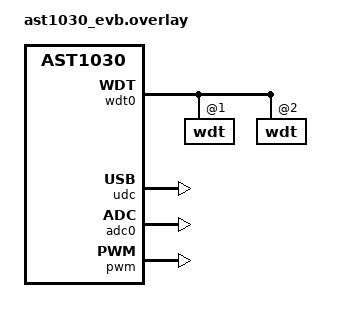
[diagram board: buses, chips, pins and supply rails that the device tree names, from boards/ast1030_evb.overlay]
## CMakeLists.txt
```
# Copyright 2025 Google LLC
#
# Licensed under the Apache License, Version 2.0 (the "License");
# you may not use this file except in compliance with the License.
# You may obtain a copy of the License at
#
#     http://www.apache.org/licenses/LICENSE-2.0
#
# Unless required by applicable law or agreed to in writing, software
# distributed under the License is distributed on an "AS IS" BASIS,
# WITHOUT WARRANTIES OR CONDITIONS OF ANY KIND, either express or implied.
# See the License for the specific language governing permissions and
# limitations under the License.

cmake_minimum_required(VERSION 3.20.0)

set_property(GLOBAL PROPERTY CSTD gnu11)

find_package(Zephyr HINTS $ENV{ZEPHYR_BASE})
project(smc-helloworld)

target_compile_options(app PRIVATE -Werror)

target_include_directories(app PRIVATE
    src/
)

file(GLOB SRCS
    src/*.c
)

target_sources(app PRIVATE ${SRCS})
```

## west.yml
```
# Copyright 2025 Google LLC
#
# Licensed under the Apache License, Version 2.0 (the "License");
# you may not use this file except in compliance with the License.
# You may obtain a copy of the License at
#
#     http://www.apache.org/licenses/LICENSE-2.0
#
# Unless required by applicable law or agreed to in writing, software
# distributed under the License is distributed on an "AS IS" BASIS,
# WITHOUT WARRANTIES OR CONDITIONS OF ANY KIND, either express or implied.
# See the License for the specific language governing permissions and
# limitations under the License.

manifest:
  self:
    path: smc-hello-world

  remotes:
    - name: google
      url-base: https://github.com/google
    - name: zephyr-aspeed
      url-base: https://github.com/AspeedTech-BMC
    - name: zephyr-upstream
      url-base: https://github.com/zephyrproject-rtos
    - name: openbmc
      url-base: https://github.com/openbmc

  projects:
    # This will be patched with smc-common/thirdparty/libmctp
    - name: libmctp
      remote: openbmc
      repo-path: libmctp
      revision: f2988977efb4ad8da523b6563b3f4cdbcd2469ed
    # This will be patched with smc-common/thirdparty/libpldm
    - name: libpldm
      remote: openbmc
      repo-path: libpldm
      revision: 0585de95306d3e4c04f89dbed2bc413a9dee8cd6
    # This will be patched with smc-common/thirdparty/libbej
    - name: libbej
      remote: openbmc
      repo-path: libbej
      revision: c14fab6eebc3455bc4111bba2ebcd41f7c52be97
    - name: smc-common
      remote: google
      repo-path: smc-common
      revision: main
    - name: zephyr
      remote: zephyr-aspeed
      repo-path: zephyr
      revision: aspeed-main-v2.6.0
      west-commands: scripts/west-commands.yml
    - name: cmsis
      remote: zephyr-upstream
      repo-path: cmsis
      revision: c3bd2094f92d574377f7af2aec147ae181aa5f8e
      path: modules/hal/cmsis
```

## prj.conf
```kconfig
CONFIG_THREAD_RUNTIME_STATS=y
CONFIG_HEAP_MEM_POOL_SIZE=16384
CONFIG_HWINFO=y
CONFIG_MINIMAL_LIBC_MALLOC_ARENA_SIZE=16384
CONFIG_REBOOT=y
CONFIG_POSIX_CLOCK=y
CONFIG_POSIX_API=y
CONFIG_WAITQ_SCALABLE=y
CONFIG_STACK_SENTINEL=y
CONFIG_INIT_STACKS=y

CONFIG_WATCHDOG=y
CONFIG_WDT_ASPEED=y
# Enabling this for Aspeed watchdog module
CONFIG_DYNAMIC_INTERRUPTS=y

CONFIG_LOG=y
CONFIG_LOG2_MODE_IMMEDIATE=y
CONFIG_LOG_BACKEND_UART=y

CONFIG_LOG_TIMESTAMP_64BIT=y

CONFIG_SHELL=y
CONFIG_SHELL_BACKEND_SERIAL_INIT_PRIORITY=99
CONFIG_SHELL_LOG_BACKEND=n

CONFIG_UART_ASPEED=y
CONFIG_UART_INTERRUPT_DRIVEN=y
CONFIG_SERIAL=y
CONFIG_UART_LINE_CTRL=y

CONFIG_USB=y
CONFIG_USB_ASPEED=y
CONFIG_USB_DEVICE_STACK=y
CONFIG_USB_DEVICE_PRODUCT="SMC helloworld"
CONFIG_USB_CDC_ACM=y
CONFIG_USB_DC_HAS_HS_SUPPORT=y

CONFIG_CBPRINTF_FP_SUPPORT=y

CONFIG_ADC=y
CONFIG_ADC_ASPEED=y
CONFIG_SMC_ADC_RESOLUTION=10

CONFIG_PWM=y
CONFIG_PWM_CAPTURE=y
CONFIG_PWM_ASPEED=y
CONFIG_PWM_ASPEED_ACCURATE_FREQ=y
# Required for PWM device to work
CONFIG_TACH_ASPEED=y

CONFIG_PLDM_RDE_GET_CTX_TIMEOUT_MS=4300
CONFIG_MCTP_UART_TX_RING_BUFFER_LOAD_TIMEOUT_MS=50
CONFIG_MCTP_UART_TX_COMPLETE_TIMEOUT_MS=50

CONFIG_SMC_RDE=y
CONFIG_SMC_RDE_EXPAND_ENABLED=y
CONFIG_SMC_RDE_CHASSIS_COUNT=3
CONFIG_SMC_RDE_CHASSIS_ADDITIONAL_CONTAINS_MAX=1
CONFIG_SMC_RDE_TEMP_PID_CONTROL_COUNT=3
CONFIG_SMC_RDE_DRIVE_COUNT=2
CONFIG_SMC_RDE_STORAGE_COUNT=1
CONFIG_SMC_RDE_STORAGE_CONTROLLER_COUNT=1
CONFIG_SMC_RDE_MANAGER_COUNT=1
CONFIG_SMC_RDE_SOFTWARE_INVENTORY_COUNT=1

CONFIG_SMC_RDE_INCLUDE_SOFTWARE_INVENTORY_DICT=n

CONFIG_SMC_SENSOR_N=8
```

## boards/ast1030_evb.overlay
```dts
/{
	aliases {
		watchdog-resets-dev = &wdt2;
	};
};

&sram0 {
	reg = <0 DT_SIZE_K(640)>, <0x90000 DT_SIZE_K(128)>;
};

&wdt0 {
	status = "okay";
	wdt@1 {
		status = "okay";
	};

	wdt@2 {
		status = "okay";
	};
};

&udc {
	status = "okay";
	cdc_acm_uart0: cdc_acm_uart0 {
		compatible = "zephyr,cdc-acm-uart";
		status = "okay";
		label = "CDC_ACM_0";
	};
};

&adc0 {
	status = "okay";
	pinctrl-0 = <&pinctrl_adc0_default &pinctrl_adc1_default
		&pinctrl_adc2_default &pinctrl_adc3_default
		&pinctrl_adc4_default &pinctrl_adc5_default
		&pinctrl_adc6_default &pinctrl_adc7_default>;
};

&pwm {
	status = "okay";
	pinctrl-0 = <&pinctrl_pwm0_default &pinctrl_pwm1_default>;
};
```

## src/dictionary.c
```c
/*
 * Copyright 2025 Google LLC
 *
 * Licensed under the Apache License, Version 2.0 (the "License");
 * you may not use this file except in compliance with the License.
 * You may obtain a copy of the License at
 *
 *     http://www.apache.org/licenses/LICENSE-2.0
 *
 * Unless required by applicable law or agreed to in writing, software
 * distributed under the License is distributed on an "AS IS" BASIS,
 * WITHOUT WARRANTIES OR CONDITIONS OF ANY KIND, either express or implied.
 * See the License for the specific language governing permissions and
 * limitations under the License.
 */

/**
 * These dictionaries were generated using the DMTF provided python tool:
 * https://github.com/DMTF/RDE-Dictionary.
 *
 * SoftwareInventory 1.5.0.0 (Truncated Dictionary with OEM)
 */

#include <smc/rde/common.h>
#include <smc/rde/dictionary.h>

/**
 * @brief SoftwareInventory_v1_5.0 dictionary (Truncated Dictionary).
 */
static const uint8_t redfish_software_inventory_dictionary[] = {
    0x0,  0x1,  0x14, 0x0,  0x0,  0xf0, 0xf5, 0xf1, 0x6c, 0x1,  0x0,  0x0,
    0x0,  0x0,  0x0,  0x16, 0x0,  0x8,  0x0,  0x12, 0xd4, 0x0,  0x56, 0x1,
    0x0,  0x0,  0x0,  0x0,  0x0,  0xc,  0xe6, 0x0,  0x52, 0x2,  0x0,  0x0,
    0x0,  0x0,  0x0,  0x3,  0xf2, 0x0,  0x52, 0x3,  0x0,  0x0,  0x0,  0x0,
    0x0,  0x5,  0xf5, 0x0,  0x0,  0x4,  0x0,  0x66, 0x0,  0x1,  0x0,  0x4,
    0xfa, 0x0,  0x0,  0x5,  0x0,  0x70, 0x0,  0x2,  0x0,  0x7,  0xfe, 0x0,
    0x76, 0x6,  0x0,  0x0,  0x0,  0x0,  0x0,  0xb,  0x5,  0x1,  0x56, 0x7,
    0x0,  0x0,  0x0,  0x0,  0x0,  0x8,  0x10, 0x1,  0x16, 0x9,  0x0,  0x84,
    0x0,  0x1,  0x0,  0xc,  0x18, 0x1,  0x0,  0x0,  0x0,  0x8e, 0x0,  0x1,
    0x0,  0x4,  0x24, 0x1,  0x46, 0x0,  0x0,  0x98, 0x0,  0x3,  0x0,  0x7,
    0x28, 0x1,  0x46, 0x3,  0x0,  0xb6, 0x0,  0x3,  0x0,  0x6,  0x2f, 0x1,
    0x0,  0x0,  0x0,  0x0,  0x0,  0x0,  0x0,  0x0,  0x0,  0x0,  0x56, 0x0,
    0x0,  0x0,  0x0,  0x0,  0x0,  0xa,  0x35, 0x1,  0x50, 0x0,  0x0,  0x0,
    0x0,  0x0,  0x0,  0x9,  0x3f, 0x1,  0x50, 0x1,  0x0,  0x0,  0x0,  0x0,
    0x0,  0x3,  0x48, 0x1,  0x50, 0x2,  0x0,  0x0,  0x0,  0x0,  0x0,  0x8,
    0x4b, 0x1,  0x50, 0x0,  0x0,  0x0,  0x0,  0x0,  0x0,  0x7,  0x53, 0x1,
    0x50, 0x1,  0x0,  0x0,  0x0,  0x0,  0x0,  0x9,  0x5a, 0x1,  0x50, 0x2,
    0x0,  0x0,  0x0,  0x0,  0x0,  0x8,  0x63, 0x1,  0x53, 0x6f, 0x66, 0x74,
    0x77, 0x61, 0x72, 0x65, 0x49, 0x6e, 0x76, 0x65, 0x6e, 0x74, 0x6f, 0x72,
    0x79, 0x0,  0x44, 0x65, 0x73, 0x63, 0x72, 0x69, 0x70, 0x74, 0x69, 0x6f,
    0x6e, 0x0,  0x49, 0x64, 0x0,  0x4e, 0x61, 0x6d, 0x65, 0x0,  0x4f, 0x65,
    0x6d, 0x0,  0x53, 0x74, 0x61, 0x74, 0x75, 0x73, 0x0,  0x55, 0x70, 0x64,
    0x61, 0x74, 0x65, 0x61, 0x62, 0x6c, 0x65, 0x0,  0x56, 0x65, 0x72, 0x73,
    0x69, 0x6f, 0x6e, 0x0,  0x52, 0x65, 0x6c, 0x61, 0x74, 0x65, 0x64, 0x49,
    0x74, 0x65, 0x6d, 0x0,  0x53, 0x6d, 0x63, 0x0,  0x48, 0x65, 0x61, 0x6c,
    0x74, 0x68, 0x0,  0x53, 0x74, 0x61, 0x74, 0x65, 0x0,  0x42, 0x75, 0x69,
    0x6c, 0x64, 0x49, 0x6e, 0x66, 0x6f, 0x0,  0x43, 0x72, 0x69, 0x74, 0x69,
    0x63, 0x61, 0x6c, 0x0,  0x4f, 0x4b, 0x0,  0x57, 0x61, 0x72, 0x6e, 0x69,
    0x6e, 0x67, 0x0,  0x41, 0x62, 0x73, 0x65, 0x6e, 0x74, 0x0,  0x44, 0x69,
    0x73, 0x61, 0x62, 0x6c, 0x65, 0x64, 0x0,  0x45, 0x6e, 0x61, 0x62, 0x6c,
    0x65, 0x64, 0x0,  0x0};
const struct redfish_resource_dictionary software_inventory_dictionary = {
    .data_length = sizeof(redfish_software_inventory_dictionary),
    .data = redfish_software_inventory_dictionary,
    .version =
        {
            .major = 1,
            .minor = 5,
            .update = 0,
            .alpha = 0,
        },
    .name = "Software Inventory",
    .version_str = "#SoftwareInventory.v1_5_0.SoftwareInventory",
};

const struct redfish_resource_dictionary*
    smc_get_dictionary(enum redfish_server_resource_type type)
{
    switch (type)
    {
        case REDFISH_SCHEMA_SOFTWARE_INVENTORY:
            return &software_inventory_dictionary;
        default:
            return NULL;
    }
    return NULL;
}
```

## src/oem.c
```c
/*
 * Copyright 2025 Google LLC
 *
 * Licensed under the Apache License, Version 2.0 (the "License");
 * you may not use this file except in compliance with the License.
 * You may obtain a copy of the License at
 *
 *     http://www.apache.org/licenses/LICENSE-2.0
 *
 * Unless required by applicable law or agreed to in writing, software
 * distributed under the License is distributed on an "AS IS" BASIS,
 * WITHOUT WARRANTIES OR CONDITIONS OF ANY KIND, either express or implied.
 * See the License for the specific language governing permissions and
 * limitations under the License.
 */

#include <bej_tree.h>
#include <logging/log.h>
#include <smc/rde/common.h>
#include <smc/utils.h>
#include <smc/version.h>

LOG_MODULE_REGISTER(rde_oem, LOG_LEVEL_WRN);

struct software_inventory_oem_json
{
    struct RedfishPropertyParent oem_owner_set;
    struct RedfishPropertyLeafString build_info;
};

#ifdef CONFIG_BOARD_NATIVE_POSIX_64BIT
#define RDE_OEM_JSON_MAX_SIZE 1048
#else
#define RDE_OEM_JSON_MAX_SIZE 512
#endif
_Static_assert(
    RDE_OEM_JSON_MAX_SIZE >= sizeof(struct software_inventory_oem_json),
    "RDE_OEM_JSON_MAX_SIZE is too small for software_inventory_oem_json");

/**
 * @brief Memory for representing OEM data in rde bejTree api.
 *
 * Since this will be casted to bejTree structs, we need to make sure that this
 * array is 4 byte aligned.
 */
static uint8_t __attribute__((aligned(
    4))) oem_json_buffer[CONFIG_SMC_RDE_CONCURRENCY][RDE_OEM_JSON_MAX_SIZE];

// Only override the redfish_get_software_inventory_oem if a OEM dictionary is
// avaiable.
#ifndef CONFIG_SMC_RDE_INCLUDE_SOFTWARE_INVENTORY_DICT
int redfish_get_software_inventory_oem(uint8_t operation_index,
                                       struct RedfishPropertyParent* oem_root)
{
    IS_PARAM_NULL(oem_root, "oem_root is  NULL in software_inventory oem");

    struct software_inventory_oem_json* resource =
        (struct software_inventory_oem_json*)&oem_json_buffer[operation_index]
                                                             [0];
    struct RedfishPropertyParent* parent = &resource->oem_owner_set;

    bejTreeInitSet(parent, "Smc");
    bejTreeLinkChildToParent(oem_root, parent);

    return redfish_add_string_to_json(parent, &resource->build_info,
                                      "BuildInfo", smc_get_build_info());
}
#endif /* CONFIG_SMC_RDE_INCLUDE_SOFTWARE_INVENTORY_DICT */
```

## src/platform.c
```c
/*
 * Copyright 2025 Google LLC
 *
 * Licensed under the Apache License, Version 2.0 (the "License");
 * you may not use this file except in compliance with the License.
 * You may obtain a copy of the License at
 *
 *     http://www.apache.org/licenses/LICENSE-2.0
 *
 * Unless required by applicable law or agreed to in writing, software
 * distributed under the License is distributed on an "AS IS" BASIS,
 * WITHOUT WARRANTIES OR CONDITIONS OF ANY KIND, either express or implied.
 * See the License for the specific language governing permissions and
 * limitations under the License.
 */

#include "platform_cfg.h"
#include "rde_resources.h"

#include <smc/adc_sensor.h>
#include <smc/fan_sensor.h>

extern int install_smc_thermal_ctl();

static bool hdd_power_state[SMC_DRIVE_N];

/**
 * @brief Initialize platform specific functionality. This overrides the
 * function in smc-common/src/main
 */
int platform_init()
{
    // Inittialize the HDD dummy power states to ON.
    for (int i = 0; i < SMC_DRIVE_N; ++i)
    {
        hdd_power_state[i] = true;
    }

    return 0;
}

/**
 * @brief Initialize the redfish resources. This overrides the function in
 * smc-common/src/main
 */
int platform_rde_server_init(struct redfish_server* server)
{
    return rde_server_init(server);
}

/**
 * @brief Initializing an ADC sensor
 */
static struct adc_sensor_ctx adc_sensor_list[] = {
    {
        .dev_label = "ADC0",
        .id = SMC_SENSOR_VOLTAGE,
        .name = "sen_voltage",
        .channel_num = 0,
        .max = 10.0,
        .min = 0.0,
        .gain = 6.6,
        .offset = 0.0,
        .poll_rate_ms = 1000,
        .acq_time_us = ADC_ACQ_TIME_DEFAULT,
        .oversampling = 0,
        .unit = volt,
    },
};
static int smc_sensors_init_adc(const struct device* dev)
{
    ARG_UNUSED(dev);
    return adc_sensor_monitor(adc_sensor_list, ARRAY_SIZE(adc_sensor_list));
}
SYS_INIT(smc_sensors_init_adc, APPLICATION, CONFIG_APPLICATION_INIT_PRIORITY);

/**
 * @brief Initializing a fan
 *
 * If a tach sensor is available it can be added here as well. Also it should be
 * initialized in the board file.
 */
static struct smc_fan_sensor_ctx fan_sensor_list[] = {
    {
        .tach =
            {
                .dev_label = "",
            },
        .duty =
            {
                .dev_label = "PWM",
                .id = SMC_SENSOR_DUTY_FAN,
                .name = "fan_duty",
                .channel_num = SENSOR_CHAN_DUTY_CYCLE,
                .max = MAX_FAN_DUTY,
                .min = MIN_FAN_DUTY,
                .default_duty = 65,
                .poll_rate_ms = 0,
                .unit = percent,
                .pwm_index = 0,
            },
    },
};
static int smc_init_fan(const struct device* dev)
{
    ARG_UNUSED(dev);
    return fan_sensor_init(fan_sensor_list, ARRAY_SIZE(fan_sensor_list));
}
SYS_INIT(smc_init_fan, APPLICATION, CONFIG_APPLICATION_INIT_PRIORITY);

/**
 * @brief Initialize several dummy sensors
 */
static int smc_init_dummy_sensors(const struct device* dev)
{
    ARG_UNUSED(dev);

    sensor_register_by_id(SMC_SENSOR_CURRENT, /*device=*/NULL, "current_sensor",
                          /*max=*/10, /*min=*/0,
                          /*poll_rate_ms=*/1000,
                          /*write_protect=*/true, amp,
                          /*gain=*/1, /*offset=*/0);
    set_sensor_reading_float(SMC_SENSOR_CURRENT, 2.55);

    sensor_register_by_id(SMC_SENSOR_TEMP, /*device=*/NULL, "tray_temp",
                          /*max=*/80, /*min=*/5,
                          /*poll_rate_ms=*/1000,
                          /*write_protect=*/true, CELSIUS,
                          /*gain=*/1, /*offset=*/0);
    set_sensor_reading_float(SMC_SENSOR_TEMP, 33.0);

    sensor_register_by_id(SMC_SENSOR_POW, /*device=*/NULL, "tray_power",
                          /*max=*/500, /*min=*/0,
                          /*poll_rate_ms=*/1000,
                          /*write_protect=*/true, watt,
                          /*gain=*/1, /*offset=*/0);
    set_sensor_reading_float(SMC_SENSOR_POW, 250.0);

    sensor_register_by_id(SMC_SENSOR_TACH_FAN, /*device=*/NULL, "fan_tach",
                          /*max=*/12000, /*min=*/100,
                          /*poll_rate_ms=*/1000,
                          /*write_protect=*/true, rpm,
                          /*gain=*/1, /*offset=*/0);
    set_sensor_reading_float(SMC_SENSOR_TACH_FAN, 8000);

    sensor_register_by_id(SMC_SENSOR_HDD0_TEMP, /*device=*/NULL, "hdd0_temp",
                          /*max=*/70, /*min=*/10,
                          /*poll_rate_ms=*/1000,
                          /*write_protect=*/true, CELSIUS,
                          /*gain=*/1, /*offset=*/0);
    set_sensor_reading_float(SMC_SENSOR_HDD0_TEMP, 39.0);

    sensor_register_by_id(SMC_SENSOR_HDD1_TEMP, /*device=*/NULL, "hdd1_temp",
                          /*max=*/70, /*min=*/10,
                          /*poll_rate_ms=*/1000,
                          /*write_protect=*/true, CELSIUS,
                          /*gain=*/1, /*offset=*/0);
    set_sensor_reading_float(SMC_SENSOR_HDD1_TEMP, 40.0);

    return 0;
}
SYS_INIT(smc_init_dummy_sensors, APPLICATION, CONFIG_APPLICATION_INIT_PRIORITY);

/**
 * @brief Initialize PID control
 */
static int smc_sensors_init_thermal(const struct device* dev)
{
    ARG_UNUSED(dev);
    return install_smc_thermal_ctl();
}
SYS_INIT(smc_sensors_init_thermal, APPLICATION,
         CONFIG_APPLICATION_INIT_PRIORITY);

int platform_set_hdd_power_state(uint16_t hdd_index, bool power)
{
    if (hdd_index >= SMC_DRIVE_N)
    {
        return -1;
    }
    hdd_power_state[hdd_index] = power;
    return 0;
}
```

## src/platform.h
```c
/*
 * Copyright 2025 Google LLC
 *
 * Licensed under the Apache License, Version 2.0 (the "License");
 * you may not use this file except in compliance with the License.
 * You may obtain a copy of the License at
 *
 *     http://www.apache.org/licenses/LICENSE-2.0
 *
 * Unless required by applicable law or agreed to in writing, software
 * distributed under the License is distributed on an "AS IS" BASIS,
 * WITHOUT WARRANTIES OR CONDITIONS OF ANY KIND, either express or implied.
 * See the License for the specific language governing permissions and
 * limitations under the License.
 */

#ifndef PLATFORM_H_
#define PLATFORM_H_

#include <stdbool.h>
#include <stdint.h>

int platform_set_hdd_power_state(uint16_t hdd_index, bool power);

#endif /* PLATFORM_H_ */
```

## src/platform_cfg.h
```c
/*
 * Copyright 2025 Google LLC
 *
 * Licensed under the Apache License, Version 2.0 (the "License");
 * you may not use this file except in compliance with the License.
 * You may obtain a copy of the License at
 *
 *     http://www.apache.org/licenses/LICENSE-2.0
 *
 * Unless required by applicable law or agreed to in writing, software
 * distributed under the License is distributed on an "AS IS" BASIS,
 * WITHOUT WARRANTIES OR CONDITIONS OF ANY KIND, either express or implied.
 * See the License for the specific language governing permissions and
 * limitations under the License.
 */

#ifndef PLATFORM_CFG_H_
#define PLATFORM_CFG_H_

/**
 * @brief Manager resource enums.
 */
enum rde_manager_id
{
    RDE_MANAGER_SMC = 0,

    // Number of possible managers on the platform.
    RDE_MANAGER_N,
};
_Static_assert(
    CONFIG_SMC_RDE_MANAGER_COUNT == RDE_MANAGER_N,
    "Allocated manager count not equal to the defined manager count");

/**
 * @brief SoftwareInventory resource enums.
 */
enum rde_software_inventory_id
{
    RDE_SOFTWARE_INVENTORY_SMC = 0,

    // Number of possible software inventories on the platform.
    RDE_SOFTWARE_INVENTORY_N,
};
_Static_assert(
    CONFIG_SMC_RDE_SOFTWARE_INVENTORY_COUNT == RDE_SOFTWARE_INVENTORY_N,
    "Allocated software inventories count not equal to the defined software inventories count");

enum rde_chassis_id
{
    RDE_CHASSIS_TRAY = 0,
    RDE_CHASSIS_SATA_0,
    RDE_CHASSIS_SATA_1,

    // Number of possible chassis for the platform.
    RDE_CHASSIS_N,
};
_Static_assert(
    CONFIG_SMC_RDE_CHASSIS_COUNT == RDE_CHASSIS_N,
    "Allocated chassis count not equal to the defined chassis count");

/**
 * @brief Sensor enums.
 *
 * Only the sensors supported by redfish should be added to this list. Adding a
 * member to this list will result in creating storage for the redfish
 * representation of the senor.
 */
enum smc_sensor_id
{
    SMC_SENSOR_VOLTAGE = 0,
    SMC_SENSOR_CURRENT,
    SMC_SENSOR_TEMP,
    SMC_SENSOR_POW,
    SMC_SENSOR_TACH_FAN,
    SMC_SENSOR_DUTY_FAN,
    SMC_SENSOR_HDD0_TEMP,
    SMC_SENSOR_HDD1_TEMP,

    // Number of possible sensors on the platform.
    SMC_SENSOR_N,
};
_Static_assert(CONFIG_SMC_SENSOR_N == SMC_SENSOR_N,
               "Allocated sensor count not equal to the defined sensors count");

/**
 * @brief Thermal and fan control loops
 *
 * Only the controls supported by redfish should be added to this list. Adding a
 * member to this list will result in creating storage for the redfish
 * representation of the control schema.
 *
 * All the closed loop thermal control loop enums MUST start from 0 and MUST be
 * continously defined before adding other control resource IDs here.
 *
 * CHANGING the order here will AFFECT GSMC_CLOSED_LOOP_PID_CNT
 */
enum smc_pid_control_id
{
    SMC_PID_CONTROL_VR,
    SMC_PID_CONTROL_HDD,
    SMC_PID_CONTROL_FAN,

    // Number of PID control loops on the platform.
    SMC_PID_CONTROL_N,
};
_Static_assert(CONFIG_SMC_RDE_TEMP_PID_CONTROL_COUNT == SMC_PID_CONTROL_N,
               "Allocated temp PID count not equal to the defined PID count");

/**
 * @brief Number of closed loop PIDs used for thermal control.
 *
 * This is based on the enums listed in smc_pid_control_id which is 0 index
 * based.
 */
#define SMC_CLOSED_LOOP_PID_CNT (SMC_PID_CONTROL_HDD + 1)

enum smc_drive_id
{
    SMC_DRIVE_ID_0 = 0,
    SMC_DRIVE_ID_1,

    SMC_DRIVE_N
};
_Static_assert(CONFIG_SMC_RDE_DRIVE_COUNT == SMC_DRIVE_N,
               "Allocated drive count not equal to the defined drive count");

/**
 * @brief Storage subsystem index
 */
#define RDE_STORAGE_SUBSYSTEM0 0

/**
 * @brief Storage controller index
 */
#define RDE_STORAGE_CONTROLLER0 0

#endif /* PLATFORM_CFG_H_ */
```

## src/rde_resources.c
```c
/*
 * Copyright 2025 Google LLC
 *
 * Licensed under the Apache License, Version 2.0 (the "License");
 * you may not use this file except in compliance with the License.
 * You may obtain a copy of the License at
 *
 *     http://www.apache.org/licenses/LICENSE-2.0
 *
 * Unless required by applicable law or agreed to in writing, software
 * distributed under the License is distributed on an "AS IS" BASIS,
 * WITHOUT WARRANTIES OR CONDITIONS OF ANY KIND, either express or implied.
 * See the License for the specific language governing permissions and
 * limitations under the License.
 */

#include "rde_resources.h"

#include "platform_cfg.h"

#include <logging/log.h>

LOG_MODULE_REGISTER(rde_init, LOG_LEVEL_ERR);

static const char* const smc_manager_odata_id = "/redfish/v1/Managers/smc";

static struct redfish_manager manager_params[] = {
    {
        .manager_index = RDE_MANAGER_SMC,
        .manager_type = REDFISH_MANAGER_TYPE_BMC,
        .odata_id = smc_manager_odata_id,
        .id = "smc",
        .name = "smc",
        .model = "smc",
        .manager_diagnostic_data =
            "/redfish/v1/Managers/smc/ManagerDiagnosticData",
        .location =
            {
                .location_type = REDFISH_LOCATION_TYPE_EMBEDDED,
                .service_label = NULL,
            },
    },
};

static struct redfish_update_service update_service_params = {
    .odata_id = "/redfish/v1/UpdateService",
    .firmware_inventory =
        {
            .odata_id = "/redfish/v1/UpdateService/FirmwareInventory",
        },
    .id = "UpdateService",
    .max_image_size_byte = 0,
    .name = "Update Service",
    .service_enabled = true,
    .initialized = true,
};

static struct redfish_software_inventory software_inventory_params[] = {
    {
        .software_inventory_index = RDE_SOFTWARE_INVENTORY_SMC,
        .odata_id = "/redfish/v1/UpdateService/FirmwareInventory/smc",
        .description = "SMC firmware",
        .id = "smc",
        .name = "Software Inventory",
        .related_items = {smc_manager_odata_id},
        .updateable = false,
    },
};

static struct redfish_chassis hdd_chassis_params[] = {
    {
        .chassis_id = RDE_CHASSIS_SATA_0,
        .odata_id = "/redfish/v1/Chassis/SATA_0",
        .chassis_type = REDFISH_CHASSIS_TYPE_STORAGEENCLOSURE,
        .id = "SATA_0",
        .sensors_collection = "/redfish/v1/Chassis/SATA_0/Sensors",
        .drives = {"/redfish/v1/Chassis/SATA_0/Drives/SATA_0"},
        .hdd_index = SMC_DRIVE_ID_0,
        .drives_collection = "/redfish/v1/Chassis/SATA_0/Drives",
        .contained_by_chassis_id = RDE_CHASSIS_TRAY,
        .location =
            {
                .location_type = REDFISH_LOCATION_TYPE_SLOT,
                .service_label = "sas@0",
            },
    },
    {
        .chassis_id = RDE_CHASSIS_SATA_1,
        .odata_id = "/redfish/v1/Chassis/SATA_1",
        .chassis_type = REDFISH_CHASSIS_TYPE_STORAGEENCLOSURE,
        .id = "SATA_1",
        .sensors_collection = "/redfish/v1/Chassis/SATA_1/Sensors",
        .drives = {"/redfish/v1/Chassis/SATA_1/Drives/SATA_1"},
        .hdd_index = SMC_DRIVE_ID_1,
        .drives_collection = "/redfish/v1/Chassis/SATA_1/Drives",
        .contained_by_chassis_id = RDE_CHASSIS_TRAY,
        .location =
            {
                .location_type = REDFISH_LOCATION_TYPE_SLOT,
                .service_label = "sas@1",
            },
    },
};

static struct redfish_sensor tray_sensor_params[] = {
    {
        .chassis_id = RDE_CHASSIS_TRAY,
        .sensor_id = SMC_SENSOR_VOLTAGE,
        .odata_id = "/redfish/v1/Chassis/Tray/Sensors/Sen_voltage",
        .id = "sen_voltage",
        .name = "sen_voltage",
        .reading_type = REDFISH_SENSOR_READING_TYPE_VOLTAGE,
        .related_item_odata_id = smc_manager_odata_id,
    },
    {
        .chassis_id = RDE_CHASSIS_TRAY,
        .sensor_id = SMC_SENSOR_CURRENT,
        .odata_id = "/redfish/v1/Chassis/Tray/Sensors/Sen_current",
        .id = "sen_current",
        .name = "sen_current",
        .reading_type = REDFISH_SENSOR_READING_TYPE_CURRENT,
        .related_item_odata_id = smc_manager_odata_id,
    },
    {
        .chassis_id = RDE_CHASSIS_TRAY,
        .sensor_id = SMC_SENSOR_TEMP,
        .odata_id = "/redfish/v1/Chassis/Tray/Sensors/Sen_temperature",
        .id = "sen_temperature",
        .name = "sen_temperature",
        .reading_type = REDFISH_SENSOR_READING_TYPE_TEMPERATURE,
        .related_item_odata_id = smc_manager_odata_id,
    },
    {
        .chassis_id = RDE_CHASSIS_TRAY,
        .sensor_id = SMC_SENSOR_POW,
        .odata_id = "/redfish/v1/Chassis/Tray/Sensors/Sen_power",
        .id = "sen_power",
        .name = "sen_power",
        .reading_type = REDFISH_SENSOR_READING_TYPE_POWER,
        .related_item_odata_id = smc_manager_odata_id,
    },
    {
        .chassis_id = RDE_CHASSIS_TRAY,
        .sensor_id = SMC_SENSOR_TACH_FAN,
        .odata_id = "/redfish/v1/Chassis/Tray/Sensors/Fan_tach",
        .id = "fan_tach",
        .name = "fan_tach",
        .reading_type = REDFISH_SENSOR_READING_TYPE_ROTATIONAL,
        .related_item_odata_id = smc_manager_odata_id,
    },
    {
        .chassis_id = RDE_CHASSIS_TRAY,
        .sensor_id = SMC_SENSOR_DUTY_FAN,
        .odata_id = "/redfish/v1/Chassis/Tray/Sensors/Fan_duty",
        .id = "fan_duty",
        .name = "fan_duty",
        .reading_type = REDFISH_SENSOR_READING_TYPE_PERCENT,
        .related_item_odata_id = smc_manager_odata_id,
    },
};

static struct redfish_sensor hdd_sensor_params[] = {
    {
        .chassis_id = RDE_CHASSIS_SATA_0,
        .sensor_id = SMC_SENSOR_HDD0_TEMP,
        .odata_id = "/redfish/v1/Chassis/SATA_0/Sensors/Temp",
        .id = "Temp",
        .name = "Temp",
        .reading_type = REDFISH_SENSOR_READING_TYPE_TEMPERATURE,
        .related_item_odata_id = smc_manager_odata_id,
    },
    {
        .chassis_id = RDE_CHASSIS_SATA_1,
        .sensor_id = SMC_SENSOR_HDD1_TEMP,
        .odata_id = "/redfish/v1/Chassis/SATA_1/Sensors/Temp",
        .id = "Temp",
        .name = "Temp",
        .reading_type = REDFISH_SENSOR_READING_TYPE_TEMPERATURE,
        .related_item_odata_id = smc_manager_odata_id,
    },
};

static struct redfish_control control_params[] = {
    {
        .chassis_id = RDE_CHASSIS_TRAY,
        .control_index = SMC_PID_CONTROL_VR,
        .odata_id = "/redfish/v1/Chassis/Tray/Controls/vr_pid",
        .description = "VR PID",
        .id = "vr_pid",
        .name = "vr_pid",
        .control_type = REDFISH_CONTROL_CONTROL_TYPE_TEMPERATURE,
        .setpoint_type = REDFISH_CONTROL_SETPOINT_TYPE_SINGLE,
        .implementation_type = REDFISH_CONTROL_IMPLEMENTATION_TYPE_PROGRAMMABLE,
    },
    {
        .chassis_id = RDE_CHASSIS_TRAY,
        .control_index = SMC_PID_CONTROL_HDD,
        .odata_id = "/redfish/v1/Chassis/Tray/Controls/hdd_pid",
        .description = "PID loop with HDD temp",
        .id = "hdd_pid",
        .name = "hdd_pid",
        .control_type = REDFISH_CONTROL_CONTROL_TYPE_TEMPERATURE,
        .setpoint_type = REDFISH_CONTROL_SETPOINT_TYPE_SINGLE,
        .implementation_type = REDFISH_CONTROL_IMPLEMENTATION_TYPE_PROGRAMMABLE,
    },
    {
        .chassis_id = RDE_CHASSIS_TRAY,
        .control_index = SMC_PID_CONTROL_FAN,
        .odata_id = "/redfish/v1/Chassis/Tray/Controls/fans",
        .description = "Control fans",
        .id = "fans",
        .name = "fans",
        .is_open_loop = true,
        // TODO: PWM control type is not supported by the standard yet.
        .control_type = REDFISH_CONTROL_CONTROL_TYPE_INVALID,
    },
};

static struct redfish_drive drive_params[] = {
    {
        .chassis_id = RDE_CHASSIS_SATA_0,
        .drive_id = SMC_DRIVE_ID_0,
        .storage_id = RDE_STORAGE_SUBSYSTEM0,
        .odata_id = "/redfish/v1/Chassis/SATA_0/Drives/SATA_0",
        .media_type = REDFISH_DRIVE_MEDIA_TYPE_HDD,
        .protocol = REDFISH_PROTOCOL_SATA,
        .id = "SATA_0",
        .name = "SATA_0",
        .chassis_link = "/redfish/v1/Chassis/SATA_0",
        .reset_action =
            {
                .action_info = NULL,
                .target =
                    "/redfish/v1/Chassis/SATA_0/Drives/SATA_0/Actions/Drive.Reset",
            },
    },
    {
        .chassis_id = RDE_CHASSIS_SATA_1,
        .drive_id = SMC_DRIVE_ID_1,
        .storage_id = RDE_STORAGE_SUBSYSTEM0,
        .odata_id = "/redfish/v1/Chassis/SATA_1/Drives/SATA_1",
        .media_type = REDFISH_DRIVE_MEDIA_TYPE_HDD,
        .protocol = REDFISH_PROTOCOL_SATA,
        .id = "SATA_1",
        .name = "SATA_1",
        .chassis_link = "/redfish/v1/Chassis/SATA_1",
        .reset_action =
            {
                .action_info = NULL,
                .target =
                    "/redfish/v1/Chassis/SATA_1/Drives/SATA_1/Actions/Drive.Reset",
            },
    },
};

static struct redfish_storage storage_params = {
    .storage_id = RDE_STORAGE_SUBSYSTEM0,
    .odata_id = "/redfish/v1/Storage/SATA",
    .id = "SATA",
    .name = "SATA_storage",
    .controllers = "/redfish/v1/Storage/SATA/Controllers",
};

static struct redfish_storage_controller storage_controller_params = {

    .controller_id = RDE_STORAGE_CONTROLLER0,
    .storage_id = RDE_STORAGE_SUBSYSTEM0,
    .odata_id = "/redfish/v1/Storage/SATA/Controllers/sata_controller",
    .id = "sata_controller",
    .name = "sata_controller",
    .location =
        {
            .location_type = REDFISH_LOCATION_TYPE_EMBEDDED,
            .service_label = "abcd",
        },
};

static int rde_create_tray_chassis(struct redfish_server* server)
{
    // We only have 1 tray. So its ok to declare it here as static.
    static struct redfish_chassis params = {0};
    params.chassis_id = RDE_CHASSIS_TRAY;
    params.contained_by_chassis_id = REDFISH_CHASSIS_ID_DO_NOT_EXIST;
    params.odata_id = "/redfish/v1/Chassis/Tray";
    params.chassis_type = REDFISH_CHASSIS_TYPE_RACKMOUNT;
    params.managed_by = smc_manager_odata_id;
    params.sensors_collection = "/redfish/v1/Chassis/Tray/Sensors";
    params.controls_collection = "/redfish/v1/Chassis/Tray/Controls";
    params.storage[0] = "/redfish/v1/Storage/SATA";
    params.location.location_type = REDFISH_LOCATION_TYPE_SLOT;
    params.id = "StorageTray";
    params.name = "StorageTray";
    params.model = "StorageTray_1";
    params.location.service_label = "PCIE0";

    RETURN_IF_IERROR(
        redfish_helper_register_chassis(server, &params, /*chassis_count=*/1));
    // Manager should be contained by the tray Chassis.
    RETURN_IF_IERROR(redfish_server_set_chassis_additional_contains(
        server, RDE_CHASSIS_TRAY, smc_manager_odata_id));

    return 0;
}

int rde_server_init(struct redfish_server* server)
{
    redfish_server_init(server);

    // Register Manager resource
    RETURN_IF_IERROR(redfish_helper_register_managers(
        server, manager_params, ARRAY_SIZE(manager_params)));

    // Register UpdateService resource
    RETURN_IF_IERROR(
        redfish_server_register_update_service(server, &update_service_params));

    // Register Software Inventories
    RETURN_IF_IERROR(redfish_helper_register_software_inventories(
        server, software_inventory_params,
        ARRAY_SIZE(software_inventory_params)));

    // Register tray chassis and sensors
    RETURN_IF_IERROR(rde_create_tray_chassis(server));
    RETURN_IF_IERROR(redfish_helper_register_sensors(
        server, tray_sensor_params, ARRAY_SIZE(tray_sensor_params)));

    // Register Controls for Tray Chassis
    RETURN_IF_IERROR(redfish_helper_register_controls(
        server, control_params, ARRAY_SIZE(control_params)));

    // Register HDD chassis, sensors and drives.
    RETURN_IF_IERROR(redfish_helper_register_chassis(
        server, hdd_chassis_params, ARRAY_SIZE(hdd_chassis_params)));
    RETURN_IF_IERROR(redfish_helper_register_sensors(
        server, hdd_sensor_params, ARRAY_SIZE(hdd_sensor_params)));
    RETURN_IF_IERROR(redfish_helper_register_drives(server, drive_params,
                                                    ARRAY_SIZE(drive_params)));

    // Register the storage and storage controller.
    RETURN_IF_IERROR(redfish_server_register_storage(server, &storage_params));
    RETURN_IF_IERROR(redfish_server_register_storage_controller(
        server, &storage_controller_params));

    return 0;
}
```

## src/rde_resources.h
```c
/*
 * Copyright 2025 Google LLC
 *
 * Licensed under the Apache License, Version 2.0 (the "License");
 * you may not use this file except in compliance with the License.
 * You may obtain a copy of the License at
 *
 *     http://www.apache.org/licenses/LICENSE-2.0
 *
 * Unless required by applicable law or agreed to in writing, software
 * distributed under the License is distributed on an "AS IS" BASIS,
 * WITHOUT WARRANTIES OR CONDITIONS OF ANY KIND, either express or implied.
 * See the License for the specific language governing permissions and
 * limitations under the License.
 */

#ifndef RDE_RESOURCES_H_
#define RDE_RESOURCES_H_

#include <smc/rde/helper.h>

int rde_server_init(struct redfish_server* server);

#endif /* RDE_RESOURCES_H_ */
```

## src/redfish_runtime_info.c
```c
/*
 * Copyright 2025 Google LLC
 *
 * Licensed under the Apache License, Version 2.0 (the "License");
 * you may not use this file except in compliance with the License.
 * You may obtain a copy of the License at
 *
 *     http://www.apache.org/licenses/LICENSE-2.0
 *
 * Unless required by applicable law or agreed to in writing, software
 * distributed under the License is distributed on an "AS IS" BASIS,
 * WITHOUT WARRANTIES OR CONDITIONS OF ANY KIND, either express or implied.
 * See the License for the specific language governing permissions and
 * limitations under the License.
 */

#include "platform.h"
#include "platform_cfg.h"

#include <logging/log.h>
#include <smc/fan_sensor.h>
#include <smc/flash_request_encoder.h>
#include <smc/fru.h>
#include <smc/gpio_pulse_monitor.h>
#include <smc/mctp_uart.h>
#include <smc/peripheral_stats.h>
#include <smc/pid.h>
#include <smc/rde/runtime_info.h>
#include <smc/sensor.h>
#include <smc/system.h>
#include <smc/utils.h>
#include <smc/wdt.h>
#include <stdio.h>

LOG_MODULE_REGISTER(redfish_runtime_info, LOG_LEVEL_WRN);

int redfish_get_chassis_runtime_info(const struct redfish_chassis* chassis,
                                     uint8_t operation_index,
                                     struct RedfishPropertyParent* oem_root,
                                     struct redfish_chassis_runtime_info* info)
{
    // No OEM properties are used for now.
    ARG_UNUSED(oem_root);
    ARG_UNUSED(operation_index);

    IS_PARAM_NULL(chassis, "chassis cannot be NULL");
    IS_PARAM_NULL(info, "info cannot be NULL");

    if (!chassis->initialized)
    {
        LOG_ERR("Chassis should be initialized before getting info");
        return -1;
    }

    const char* serial = "ABCD1234";
    smc_copy_str(info->serial_number, REDFISH_CHASSIS_SERIAL_NUM_LEN, serial);

    const char* part_number = "1234FFAABB";
    smc_copy_str(info->part_number, REDFISH_CHASSIS_PART_NUMBER_LEN, part_number);

    const char* name = "SomeChassis";
    smc_copy_str(info->name, REDFISH_CHASSIS_NAME_LEN, name);

    return 0;
}

int redfish_get_drive_runtime_info(
    uint16_t hdd_index, uint8_t operation_index,
    struct RedfishPropertyParent* oem_root,
    struct redfish_drive_runtime_info* runtime_info)
{
    // No OEM properties are used for now.
    ARG_UNUSED(oem_root);
    ARG_UNUSED(operation_index);
    ARG_UNUSED(hdd_index);

    IS_PARAM_NULL(oem_root, "oem_root NULL in drive_runtime_info");
    IS_PARAM_NULL(runtime_info, "runtime_info NULL in drive_runtime_info");

    const char* serial = "EFGH1234";
    smc_copy_str(runtime_info->serial_number, REDFISH_DRIVE_SERIAL_NUM_LEN,
                serial);

    const char* part_number = "1234FFAABB";
    smc_copy_str(runtime_info->part_number, REDFISH_DRIVE_PART_NUMBER_LEN,
                part_number);

    const char* model = "SomeHDDModel";
    smc_copy_str(runtime_info->model, REDFISH_DRIVE_MODEL_LEN, model);

    return 0;
}

int redfish_get_control_runtime_info(uint16_t pid_control_id,
                                     struct redfish_control_runtime_info* info)
{
    IS_PARAM_NULL(info, "info NULL in control_runtime_info");

    info->mode = REDFISH_CONTROL_CONTROL_MODE_AUTOMATIC;

    int mode_ret = thermalControlConfig();
    if ((mode_ret == KTHERMAL_CONTROLS_NOT_CONFIGURED) ||
        (mode_ret == KTHERMAL_CONTROLS_MANUAL))
    {
        info->mode = REDFISH_CONTROL_CONTROL_MODE_MANUAL;
    }

    switch (pid_control_id)
    {
        case SMC_PID_CONTROL_FAN:
        {
            float fan0;
            RETURN_IF_IERROR(
                get_sensor_calibrated_reading(SMC_SENSOR_DUTY_FAN, &fan0));
            info->setpoint = fan0;
            break;
        }
        case SMC_PID_CONTROL_VR:
        case SMC_PID_CONTROL_HDD:
        {
            float value;
            info->setpoint = REDFISH_DOUBLE_INVALID_READING;
            info->p_coeff = REDFISH_DOUBLE_INVALID_READING;
            info->i_coeff = REDFISH_DOUBLE_INVALID_READING;
            info->d_coeff = REDFISH_DOUBLE_INVALID_READING;

            if (getPIDparam(pid_control_id, kPID_setpoint, &value) == 0)
            {
                info->setpoint = value;
            }

            if (getPIDparam(pid_control_id, kPID_kP, &value) == 0)
            {
                info->p_coeff = value;
            }

            if (getPIDparam(pid_control_id, kPID_kI, &value) == 0)
            {
                info->i_coeff = value;
            }

            if (getPIDparam(pid_control_id, kPID_kD, &value) == 0)
            {
                info->d_coeff = value;
            }
            break;
        }
        default:
            LOG_ERR("Invalid PID control id: %d", pid_control_id);
            return -1;
    }
    return 0;
}

int redfish_set_control_runtime_cfg(
    uint16_t pid_control_id, struct redfish_control_decoder_params* params)
{
    ARG_UNUSED(pid_control_id);
    ARG_UNUSED(params);
    return 0;
}

int redfish_get_storage_controller_runtime_info(
    const struct redfish_storage_controller* controller,
    uint8_t operation_index, struct RedfishPropertyParent* oem_root,
    struct redfish_storage_controller_runtime_info* info)
{
    ARG_UNUSED(controller);
    ARG_UNUSED(operation_index);
    ARG_UNUSED(oem_root);

    IS_PARAM_NULL(info, "info NULL in storage_controller_runtime_info");

    info->state = REDFISH_STATUS_STATE_ENABLED;

    const char* version = "1.2.4.0";
    smc_copy_str(info->firmware_version, REDFISH_FIRMWARE_VERS_BUFFER_SIZE, version);
    return 0;
}

int redfish_get_i2c_diagnostic_data(uint16_t manager_id, uint8_t i2c_id,
                                    struct redfish_i2c_bus_data* i2c_data)
{
    ARG_UNUSED(manager_id);
    IS_PARAM_NULL(i2c_data, "NULL i2c_data in get i2c diagnostics");

    i2c_data->total_transactions = 1000;
    i2c_data->bus_errors = 1;
    return 0;
}

int redfish_get_manager_diagnostic_runtime_info(
    uint8_t operation_index, struct RedfishPropertyParent* oem_root,
    struct redfish_manager_diagnostic_runtime_info* info)
{
    ARG_UNUSED(operation_index);
    ARG_UNUSED(oem_root);

    IS_PARAM_NULL(info, "info is  NULL in manager_runtime_info");
    info->reboot_count = 11;
    info->crash_count = 2;

    return 0;
}

int redfish_get_sensor_reading(uint16_t sensor_id, float* val)
{
    return get_sensor_calibrated_reading(sensor_id, val);
}

int redfish_set_sensor_reading(uint16_t sensor_id, float val)
{
    return set_write_allowed_sensor_reading(sensor_id, val);
}

int redfish_set_drive_power(uint16_t hdd_index, bool power)
{
    return platform_set_hdd_power_state(hdd_index, power);
}
```

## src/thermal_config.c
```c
/*
 * Copyright 2025 Google LLC
 *
 * Licensed under the Apache License, Version 2.0 (the "License");
 * you may not use this file except in compliance with the License.
 * You may obtain a copy of the License at
 *
 *     http://www.apache.org/licenses/LICENSE-2.0
 *
 * Unless required by applicable law or agreed to in writing, software
 * distributed under the License is distributed on an "AS IS" BASIS,
 * WITHOUT WARRANTIES OR CONDITIONS OF ANY KIND, either express or implied.
 * See the License for the specific language governing permissions and
 * limitations under the License.
 */

#include "platform_cfg.h"

#include <init.h>
#include <logging/log.h>
#include <shell/shell.h>
#include <smc/fan_sensor.h>
#include <smc/pid.h>
#include <smc/pid_sensor.h>
#include <smc/pid_strings.h>
#include <smc/thermal_error.h>
#include <stdio.h>
#include <stdlib.h>

extern double atof(const char* string);

// default settings
const int kPid_Def_Enable = 1;

#define FAN_OUTPUT_MIN 20.0
#define FAN_OUTPUT_MAX 90.0

const float kOutput_Min = FAN_OUTPUT_MIN;            // Min PID loop
const float kOutput_Min_Post = (kOutput_Min - 0.01); // Min post proc

const float kOutput_Max = FAN_OUTPUT_MAX; // Max PID loop

const float kOutput_Start = 60.0; // pwm during start phase

const float kIntegral_Min = kOutput_Min;
const float kIntegral_Max = kOutput_Max;

// 1 minute start phase
const int kStartPhaseInSec = (1 * 60);

LOG_MODULE_REGISTER(smc_thermal_config);

static void setOutputTable(uint32_t ctx, float value);
static void smcPostProc(void);
static float getHddAvgTemp(uint32_t);

//===========================================

static float outputTable[SMC_CLOSED_LOOP_PID_CNT]; // pid output storage (one
                                                   // per pid loop)

//---------------
// SMC thermal control descriptors
//

#define getter(procedure, context)                                             \
    {                                                                          \
        .hdlr.get = procedure,                                                 \
        .ctx = context,                                                        \
    }

#define setter(procedure, context)                                             \
    {                                                                          \
        .hdlr.set = procedure,                                                 \
        .ctx = context,                                                        \
    }

pid_desc_t smcPidDesc[] = {
    [SMC_PID_CONTROL_VR] =
        {
            .namePtr = "VRs",
            .localSetpoint = 66.0,
            .setpt = getter(localSetptHdlr, SMC_PID_CONTROL_VR),
            .input = getter(readSensor, SMC_SENSOR_TEMP),
            .output = setter(setOutputTable, SMC_PID_CONTROL_VR),

            .info =
                {
                    .enabled = kPid_Def_Enable,
                    .ts = 1,
                    .kP = -0.1,
                    .kI = -0.05,
                    .kD = 0.0,
                    .i_lim.max = kIntegral_Max,
                    .i_lim.min = kIntegral_Min,
                    .out_lim.max = kOutput_Max,
                    .out_lim.min = kOutput_Min,
                    .slew_pos = 0.0,
                    .slew_neg = 0.0,
                    .deadband = 0.0,
                },
        },

    [SMC_PID_CONTROL_HDD] =
        {
            .namePtr = "HDD",
            .localSetpoint = 48.0,
            .setpt = getter(localSetptHdlr, SMC_PID_CONTROL_HDD),
            .input = getter(getHddAvgTemp, 0),
            .output = setter(setOutputTable, SMC_PID_CONTROL_HDD),
            .info =
                {
                    .enabled = kPid_Def_Enable,
                    .ts = 60,
                    .kP = -4.0,
                    .kI = -0.01,
                    .kD = 0.0,
                    .i_lim.max = kIntegral_Max,
                    .i_lim.min = kIntegral_Min,
                    .out_lim.max = kOutput_Max,
                    .out_lim.min = kOutput_Min,
                    .slew_pos = 0.0,
                    .slew_neg = 0.0,
                    .deadband = 0.0,
                },
        },

    // Terminator
    {
        .info.ts = 0,
    },
};

//-----------------------
// object export
const thermal_ctl_t smc_thermal_ctl = {
    .descPtr = &smcPidDesc[0],
    .postProc = smcPostProc,
};

//------------------------
// getHddMaxTemp - get the average HDD temperature
static float getHddAvgTemp(uint32_t)
{
    float hdd0 = readSensor(SMC_SENSOR_HDD0_TEMP);
    float hdd1 = readSensor(SMC_SENSOR_HDD1_TEMP);

    return (hdd0 + hdd1) / 2.0;
}

//------------------------
// pidHdl - Get max value from PIDs
static void pidHdl(float* maxPtr)
{
    *maxPtr = 0;
    // find max value of requests
    for (int i = 0; i < SMC_CLOSED_LOOP_PID_CNT; i++)
    {
        if (smcPidDesc[i].info.enabled)
        {
            if (*maxPtr < outputTable[i])
                *maxPtr = outputTable[i];
        }
    }
}

//------------------------
// smcPostProc - Post thermal control calcuation callback (once a second)
//   - This routine is called after the PID FSM completes process of the
//     thermal descriptor.
//   - Any post process is done here.
//     - Implement start phase
//     - Get PID/bmc max request
//     - Update FAN pwm sensors for FAN driver
//
static void smcPostProc(void)
{
    float max = kOutput_Min_Post;
    static int start_phase_timer_sec = kStartPhaseInSec;

    // handle start phase
    if (start_phase_timer_sec > 0)
        start_phase_timer_sec -= 1;
    if (start_phase_timer_sec > 0)
    {
        writeSensor(SMC_SENSOR_DUTY_FAN, kOutput_Start);
    }
    else
    {
        pidHdl(&max);
        writeSensor(SMC_SENSOR_DUTY_FAN, max);
    }

    // drive fans to lastest settings. But no fans are connected or configured.
    // int ret = fan_set_duty_by_id(/*fan_index=*/0, max);
    // if (ret != 0)
    //         printk("  Set Fan PWM%d:%d %f\n", fan_index, ret, percent);
}

//------------------------
// setOutputTable -
//   input:
//     index: outputTable index
//     value: value to store in outputTable
//
static void setOutputTable(uint32_t index, float value)
{
    outputTable[index] = value;
}

//-------------------------
int install_smc_thermal_ctl()
{
    pidControlInit(&smc_thermal_ctl);
    return 0;
}
```

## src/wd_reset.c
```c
/*
 * Copyright 2025 Google LLC
 *
 * Licensed under the Apache License, Version 2.0 (the "License");
 * you may not use this file except in compliance with the License.
 * You may obtain a copy of the License at
 *
 *     http://www.apache.org/licenses/LICENSE-2.0
 *
 * Unless required by applicable law or agreed to in writing, software
 * distributed under the License is distributed on an "AS IS" BASIS,
 * WITHOUT WARRANTIES OR CONDITIONS OF ANY KIND, either express or implied.
 * See the License for the specific language governing permissions and
 * limitations under the License.
 */

#include <kernel.h>
#include <smc/wdt.h>
#include <soc.h>

#define SYS_WDT2_FULL_RESET BIT(21)
#define SYS_WDT2_SOC_RESET BIT(20)

/**
 * Watchdog reset module for the AST1030/AST1035 chip
 */
static int smc_wdt_init(const struct device* dev)
{
    ARG_UNUSED(dev);

    bool wdt_reset = false;
    uint32_t reset_logs = sys_read32(SYS_RESET_LOG_REG1);
    if ((reset_logs & SYS_WDT2_SOC_RESET) || (reset_logs & SYS_WDT2_FULL_RESET))
    {
        wdt_reset = true;
    }

    wdt_set_system_reset_count(wdt_reset);

    // This will print the last reset information and also clear the reset logs.
    aspeed_print_sysrst_info();

    return wdt_init(CONFIG_WDT_RESET_CPU_TIMEOUT_MS, WDT_FLAG_RESET_CPU_CORE,
                    NULL);
}
SYS_INIT(smc_wdt_init, POST_KERNEL, CONFIG_APPLICATION_INIT_PRIORITY);
```
